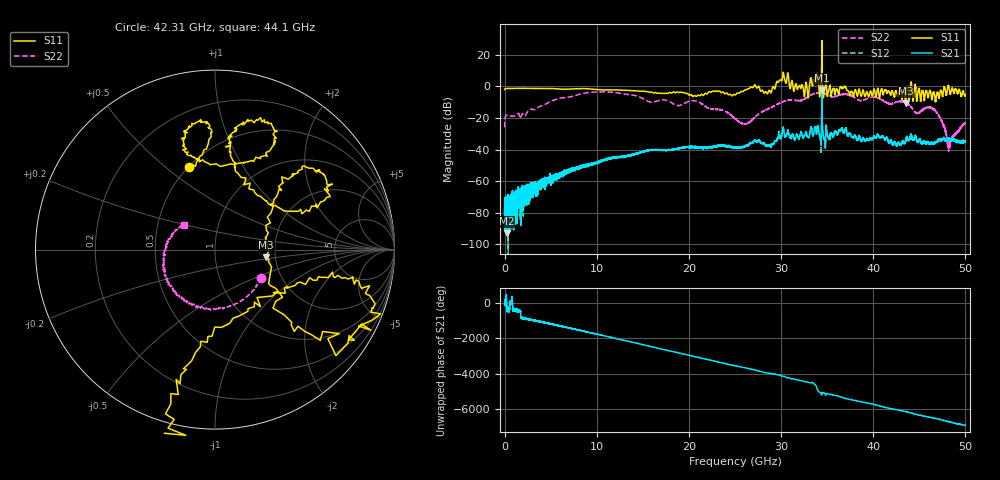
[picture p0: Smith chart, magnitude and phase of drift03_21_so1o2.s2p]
!Created with skrf (http://scikit-rf.org).
# Hz S RI R 50.0
!freq ReS11 ImS11 ReS21 ImS21 ReS12 ImS12 ReS22 ImS22
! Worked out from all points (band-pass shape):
!   10000 points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, 5.3 MHz to 50 GHz, reference 50 ohm
!   highest |S21| = -2.50 dB at 34.43 GHz (marker M1); lowest = -92.9 dB at 255.3 MHz (marker M2)
!   |S21| within 3 dB of the highest: 34.42769 GHz to 34.43525 GHz (7.558 MHz wide, 0.022 % of centre)
!   lowest |S11| = -10.8 dB at 43.53 GHz (marker M3), VSWR 1.81, Z = 89.4 - j8.2 ohm
!   |S11| at or under -10 dB: 43.49463 GHz to 43.54248 GHz (47.84 MHz wide, 0.11 % of centre)
!   |S22| runs from -41.1 to -3.6 dB; largest |S21 - S12| = 0.24
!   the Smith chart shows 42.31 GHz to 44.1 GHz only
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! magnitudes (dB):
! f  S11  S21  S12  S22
! 5.3 MHz  -2.1  -76.9  -79.6  -26.0
! 255.3 MHz  -1.4  -92.9  -78.1  -18.2
! 3.01 GHz  -1.4  -61.3  -67.0  -14.5
! 8.34 GHz  -1.5  -50.5  -50.8  -4.7
! 16.67 GHz  -4.4  -40.3  -40.2  -9.2
! 20.75 GHz  -6.3  -38.9  -38.7  -9.3
! 25.01 GHz  -5.5  -38.6  -38.9  -20.4
! 26.27 GHz  -2.1  -37.2  -37.3  -23.6
! 28.72 GHz  -2.5  -37.5  -37.5  -14.0
! 30.14 GHz  4.4  -29.5  -29.7  -9.9
! 32.74 GHz  2.0  -29.4  -29.3  -7.3
! 33.34 GHz  2.5  -27.6  -27.7  -5.3
! 33.82 GHz  4.0  -29.1  -29.6  -4.2
! 34.43 GHz  28.9  -2.5  -4.6  -4.0
! 36.49 GHz  -0.2  -27.8  -27.8  -5.2
! 38.87 GHz  -2.4  -32.9  -32.7  -9.0
! 41.67 GHz  -3.2  -35.6  -35.6  -11.0
! 43.53 GHz  -10.8  -34.2  -34.1  -10.5
! 44.74 GHz  -8.6  -34.4  -34.5  -17.2
! 46.65 GHz  -5.0  -35.8  -35.7  -14.7
! 48.22 GHz  -0.4  -33.2  -32.8  -37.1
! 50 GHz  -5.3  -35.1  -34.7  -23.3
